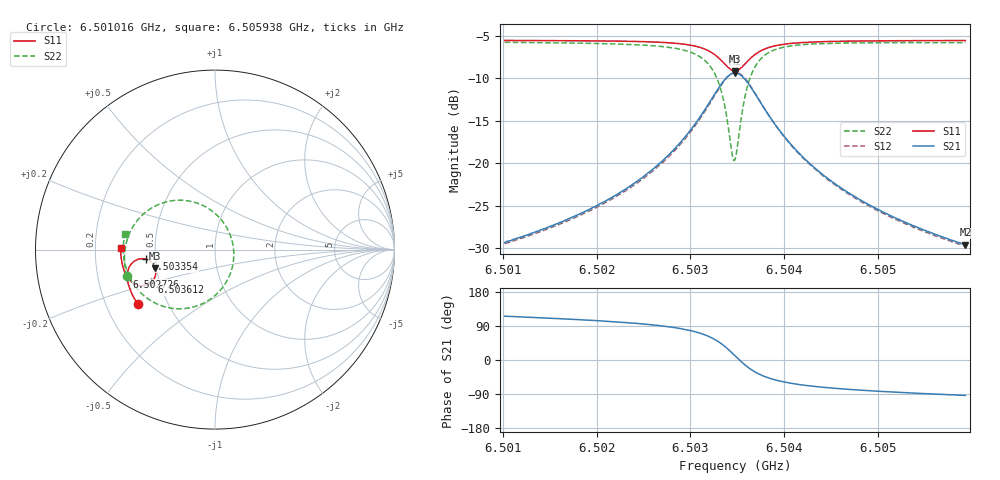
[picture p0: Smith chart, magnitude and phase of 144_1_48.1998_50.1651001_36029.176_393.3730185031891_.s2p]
#  HZ  S  RI  R  50.00
! Rohde & Schwarz Vector Network Analyzer
! Rohde-Schwarz,ZNB20-2Port,1311601062101988,3.16
! Created: UTC 3/20/2024, 11:42:32 AM
! freq[Hz]  re:S11  im:S11  re:S21  im:S21  re:S12  im:S12  re:S22  im:S22
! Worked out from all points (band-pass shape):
!   401 points, 6.501016 GHz to 6.505938 GHz, reference 50 ohm
!   highest |S21| = -9.39 dB at 6.503477 GHz (marker M1); lowest = -29.6 dB at 6.505938 GHz (marker M2)
!   |S21| within 3 dB of the highest: 6.503231 GHz to 6.503723 GHz (492.2 kHz wide, 0.00757 % of centre)
!   lowest |S11| = -9.2 dB at 6.503477 GHz (marker M3), VSWR 2.07, Z = 24.6 - j5.82 ohm
!   |S11| at or under -10 dB: nowhere
!   |S22| runs from -19.7 to -5.8 dB; largest |S21 - S12| = 0.012
!   S11 on the Smith chart (normalised r, x): 6.501016 GHz: 0.34, -0.29; 6.502726 GHz: 0.33, -0.14; 6.503354 GHz: 0.44, -0.05; 6.503612 GHz: 0.45, -0.19; 6.505938 GHz: 0.31, +0.01
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6.501016e9  -0.4294 -0.3047  -0.0147 0.0309  -0.0132 0.031  -0.492 -0.1474
6.5018404e9  -0.4643 -0.2431  -0.0141 0.049  -0.0117 0.0485  -0.5041 -0.0584
6.5023326e9  -0.481 -0.1986  -0.0105 0.0711  -0.00736 0.0699  -0.4991 0.014
6.5026649e9  -0.4883 -0.1608  -0.00153 0.0989  0.00215 0.0965  -0.4793 0.0835
6.5027264e9  -0.4887 -0.1526  0.00162 0.1061  0.00532 0.1035  -0.4724 0.0997
6.5029479e9  -0.4853 -0.1175  0.0237 0.1416  0.0275 0.1371  -0.426 0.1705
6.5031078e9  -0.4706 -0.0853  0.0631 0.1778  0.066 0.1718  -0.3493 0.2341
6.5032555e9  -0.4329 -0.0556  0.1449 0.2065  0.1458 0.2001  -0.1999 0.2752
6.5033539e9  -0.3864 -0.0528  0.2367 0.1898  0.2367 0.1849  -0.0411 0.232
6.50344e9  -0.3436 -0.0819  0.3151 0.115  0.3174 0.1105  0.0838 0.0839
6.5034647e9  -0.3356 -0.0963  0.3283 0.0831  0.3316 0.0779  0.1008 0.0239
6.503477e9  -0.3327 -0.104  0.3327 0.066  0.3361 0.0605  0.1044 -0.00784
6.5035016e9  -0.3299 -0.1203  0.336 0.0315  0.3397 0.0244  0.1018 -0.0713
6.5035385e9  -0.332 -0.1444  0.3285 -0.0188  0.3318 -0.0279  0.074 -0.1603
6.5036123e9  -0.3543 -0.1813  0.2816 -0.0952  0.2814 -0.1067  -0.0367 -0.2832
6.5037107e9  -0.3951 -0.2006  0.2034 -0.1383  0.1982 -0.1485  -0.1963 -0.3297
6.5038707e9  -0.4444 -0.1929  0.1154 -0.1378  0.1081 -0.1432  -0.3563 -0.2853
6.504043e9  -0.4734 -0.1718  0.0675 -0.1169  0.0608 -0.1193  -0.4342 -0.2181
6.5043014e9  -0.4958 -0.1404  0.0345 -0.0903  0.0297 -0.0907  -0.4817 -0.14
6.5046705e9  -0.5116 -0.1014  0.0153 -0.0663  0.0118 -0.0659  -0.5045 -0.0643
6.5051258e9  -0.5208 -0.0589  0.00515 -0.0493  0.0028 -0.0485  -0.5108 0.00162
6.5059379e9  -0.526 0.0102  -0.00206 -0.0331  -0.00353 -0.0323  -0.5032 0.0889
